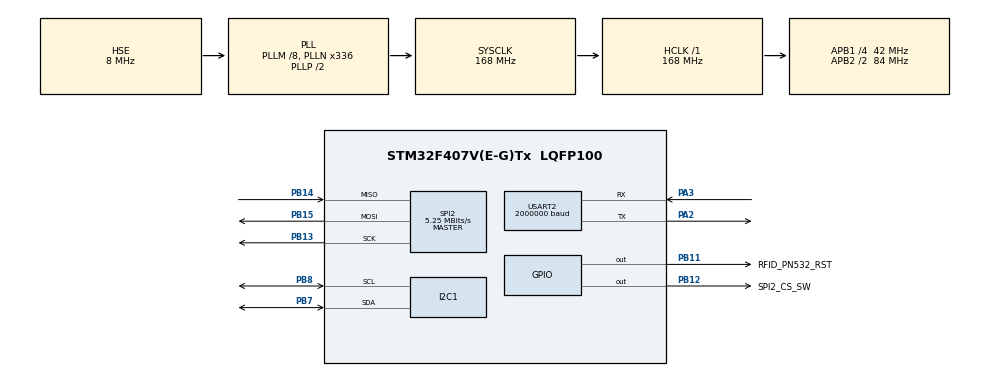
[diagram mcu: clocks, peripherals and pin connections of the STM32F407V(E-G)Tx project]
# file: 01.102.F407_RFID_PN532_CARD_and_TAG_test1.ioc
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Dma.Request0=USART2_TX
Dma.Request1=USART2_RX
Dma.USART2_RX.1.Direction=DMA_PERIPH_TO_MEMORY
Dma.USART2_RX.1.FIFOMode=DMA_FIFOMODE_DISABLE
Dma.USART2_RX.1.Instance=DMA1_Stream5
Dma.USART2_RX.1.MemDataAlignment=DMA_MDATAALIGN_BYTE
Dma.USART2_RX.1.MemInc=DMA_MINC_ENABLE
Dma.USART2_RX.1.Mode=DMA_CIRCULAR
Dma.USART2_RX.1.PeriphDataAlignment=DMA_PDATAALIGN_BYTE
Dma.USART2_RX.1.PeriphInc=DMA_PINC_DISABLE
Dma.USART2_RX.1.Priority=DMA_PRIORITY_LOW
Dma.USART2_TX.0.Direction=DMA_MEMORY_TO_PERIPH
Dma.USART2_TX.0.FIFOMode=DMA_FIFOMODE_DISABLE
Dma.USART2_TX.0.Instance=DMA1_Stream6
Dma.USART2_TX.0.MemDataAlignment=DMA_MDATAALIGN_BYTE
Dma.USART2_TX.0.MemInc=DMA_MINC_ENABLE
Dma.USART2_TX.0.Mode=DMA_NORMAL
Dma.USART2_TX.0.PeriphDataAlignment=DMA_PDATAALIGN_BYTE
Dma.USART2_TX.0.PeriphInc=DMA_PINC_DISABLE
Dma.USART2_TX.0.Priority=DMA_PRIORITY_LOW
Mcu.Family=STM32F4
Mcu.Name=STM32F407V(E-G)Tx
Mcu.Package=LQFP100
NVIC.DMA1_Stream5_IRQn=true\:0\:0\:false\:false\:true\:false\:true\:true
NVIC.DMA1_Stream6_IRQn=true\:0\:0\:false\:false\:true\:false\:true\:true
NVIC.PriorityGroup=NVIC_PRIORITYGROUP_0
NVIC.USART2_IRQn=true\:0\:0\:false\:false\:true\:true\:true\:true
PA2.Mode=Asynchronous
PA2.Signal=USART2_TX
PA3.Mode=Asynchronous
PA3.Signal=USART2_RX
PB11.GPIO_Label=RFID_PN532_RST
PB11.Signal=GPIO_Output
PB12.GPIO_Label=SPI2_CS_SW
PB12.Signal=GPIO_Output
PB13.Mode=Full_Duplex_Master
PB13.Signal=SPI2_SCK
PB14.Mode=Full_Duplex_Master
PB14.Signal=SPI2_MISO
PB15.Mode=Full_Duplex_Master
PB15.Signal=SPI2_MOSI
PB7.Mode=I2C
PB7.Signal=I2C1_SDA
PB8.Mode=I2C
PB8.Signal=I2C1_SCL
PH0-OSC_IN.Mode=HSE-External-Oscillator
PH0-OSC_IN.Signal=RCC_OSC_IN
PH1-OSC_OUT.Mode=HSE-External-Oscillator
PH1-OSC_OUT.Signal=RCC_OSC_OUT
ProjectManager.HeapSize=0x200
ProjectManager.StackSize=0x400
ProjectManager.TargetToolchain=STM32CubeIDE
RCC.48MHZClocksFreq_Value=48000000
RCC.AHBFreq_Value=168000000
RCC.APB1CLKDivider=RCC_HCLK_DIV4
RCC.APB1Freq_Value=42000000
RCC.APB1TimFreq_Value=84000000
RCC.APB2CLKDivider=RCC_HCLK_DIV2
RCC.APB2Freq_Value=84000000
RCC.APB2TimFreq_Value=168000000
RCC.CortexFreq_Value=168000000
RCC.HCLKFreq_Value=168000000
RCC.HSE_VALUE=8000000
RCC.HSI_VALUE=16000000
RCC.LSE_VALUE=32768
RCC.PLLM=8
RCC.PLLN=336
RCC.PLLQ=7
RCC.PLLSourceVirtual=RCC_PLLSOURCE_HSE
RCC.SYSCLKFreq_VALUE=168000000
RCC.SYSCLKSource=RCC_SYSCLKSOURCE_PLLCLK
RCC.VCOOutputFreq_Value=336000000
SPI2.BaudRatePrescaler=SPI_BAUDRATEPRESCALER_8
SPI2.CalculateBaudRate=5.25 MBits/s
SPI2.Direction=SPI_DIRECTION_2LINES
SPI2.Mode=SPI_MODE_MASTER
SPI2.VirtualType=VM_MASTER
USART2.BaudRate=2000000
USART2.VirtualMode=VM_ASYNC
board=STM32F407G-DISC1

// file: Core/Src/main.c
/* USER CODE BEGIN Header */
/**
  ******************************************************************************
  * @file           : main.c
  * @brief          : Main program body
  ******************************************************************************
  * @attention
  *
  * Copyright (c) 2025 STMicroelectronics.
  * All rights reserved.
  *
  * This software is licensed under terms that can be found in the LICENSE file
  * in the root directory of this software component.
  * If no LICENSE file comes with this software, it is provided AS-IS.
  *
  ******************************************************************************
  */
/* USER CODE END Header */
#include "main.h"

/* USER CODE BEGIN Includes */

#include <stdio.h>
#include <string.h>
#include <stddef.h>
#include <stdarg.h>
#include <stdbool.h>
#include <stdlib.h>
/* USER CODE END Includes */

I2C_HandleTypeDef hi2c1;

SPI_HandleTypeDef hspi2;

UART_HandleTypeDef huart4;
DMA_HandleTypeDef hdma_usart2_tx;
DMA_HandleTypeDef hdma_usart2_rx;

/* USER CODE BEGIN PV */
uint8_t dma_rx_buffer[64];
uint16_t old_pos = 0;

uint8_t status;
uint8_t str[16];
uint8_t sNum[5];

char *msg1 = "Reading from CARD\r\n";
char *msg2 = "Reading from TAG\r\n";
/* USER CODE END PV */

void SystemClock_Config(void);
static void MX_GPIO_Init(void);
static void MX_DMA_Init(void);
static void MX_USART2_UART_Init(void);
static void MX_SPI2_Init(void);
static void MX_I2C1_Init(void);

/* USER CODE BEGIN 0 */
void DebugPrint(const char *format, ...)
{
    static char uartBuffer[250];  // <--- persists after function returns
    va_list args;
    va_start(args, format);
    vsnprintf(uartBuffer, sizeof(uartBuffer), format, args);
    va_end(args);

    HAL_UART_Transmit_DMA(&huart4, (uint8_t*)uartBuffer, strlen(uartBuffer));
}

void check_dma_data(void) {
    uint16_t pos = sizeof(dma_rx_buffer) - __HAL_DMA_GET_COUNTER(&hdma_usart2_rx);

    if (pos != old_pos) {
        if (pos > old_pos) {
            // Print new data
            for (uint16_t i = old_pos; i < pos; i++) {
                DebugPrint("\r\nGot: '%c' (0x%02X) at pos %d\r\n\r\n",
                       dma_rx_buffer[i], dma_rx_buffer[i], i);

            }
        }
        old_pos = pos;
    }
}

/* USER CODE END 0 */

int main(void)
{

  /* MCU Configuration--------------------------------------------------------*/

  /* Reset of all peripherals, Initializes the Flash interface and the Systick. */
  HAL_Init();

  /* Configure the system clock */
  SystemClock_Config();

  /* Initialize all configured peripherals */
  MX_GPIO_Init();
  MX_DMA_Init();
  MX_USART2_UART_Init();
  MX_SPI2_Init();
  MX_I2C1_Init();
  /* USER CODE BEGIN 2 */

  HAL_UART_Receive_DMA(&huart4, dma_rx_buffer, sizeof(dma_rx_buffer));

  /* USER CODE END 2 */

  /* Infinite loop */
  while (1)
  {

    /* USER CODE BEGIN 3 */

//	  check_dma_data();
  }
  /* USER CODE END 3 */
}

void SystemClock_Config(void)
{
  RCC_OscInitTypeDef RCC_OscInitStruct = {0};
  RCC_ClkInitTypeDef RCC_ClkInitStruct = {0};

  /** Configure the main internal regulator output voltage
  */
  __HAL_RCC_PWR_CLK_ENABLE();
  __HAL_PWR_VOLTAGESCALING_CONFIG(PWR_REGULATOR_VOLTAGE_SCALE1);

  /** Initializes the RCC Oscillators according to the specified parameters
  * in the RCC_OscInitTypeDef structure.
  */
  RCC_OscInitStruct.OscillatorType = RCC_OSCILLATORTYPE_HSE;
  RCC_OscInitStruct.HSEState = RCC_HSE_ON;
  RCC_OscInitStruct.PLL.PLLState = RCC_PLL_ON;
  RCC_OscInitStruct.PLL.PLLSource = RCC_PLLSOURCE_HSE;
  RCC_OscInitStruct.PLL.PLLM = 8;
  RCC_OscInitStruct.PLL.PLLN = 336;
  RCC_OscInitStruct.PLL.PLLP = RCC_PLLP_DIV2;
  RCC_OscInitStruct.PLL.PLLQ = 7;
  if (HAL_RCC_OscConfig(&RCC_OscInitStruct) != HAL_OK)
  {
    Error_Handler();
  }

  /** Initializes the CPU, AHB and APB buses clocks
  */
  RCC_ClkInitStruct.ClockType = RCC_CLOCKTYPE_HCLK|RCC_CLOCKTYPE_SYSCLK
                              |RCC_CLOCKTYPE_PCLK1|RCC_CLOCKTYPE_PCLK2;
  RCC_ClkInitStruct.SYSCLKSource = RCC_SYSCLKSOURCE_PLLCLK;
  RCC_ClkInitStruct.AHBCLKDivider = RCC_SYSCLK_DIV1;
  RCC_ClkInitStruct.APB1CLKDivider = RCC_HCLK_DIV4;
  RCC_ClkInitStruct.APB2CLKDivider = RCC_HCLK_DIV2;

  if (HAL_RCC_ClockConfig(&RCC_ClkInitStruct, FLASH_LATENCY_5) != HAL_OK)
  {
    Error_Handler();
  }
}

static void MX_I2C1_Init(void)
{

  hi2c1.Instance = I2C1;
  hi2c1.Init.ClockSpeed = 100000;
  hi2c1.Init.DutyCycle = I2C_DUTYCYCLE_2;
  hi2c1.Init.OwnAddress1 = 0;
  hi2c1.Init.AddressingMode = I2C_ADDRESSINGMODE_7BIT;
  hi2c1.Init.DualAddressMode = I2C_DUALADDRESS_DISABLE;
  hi2c1.Init.OwnAddress2 = 0;
  hi2c1.Init.GeneralCallMode = I2C_GENERALCALL_DISABLE;
  hi2c1.Init.NoStretchMode = I2C_NOSTRETCH_DISABLE;
  if (HAL_I2C_Init(&hi2c1) != HAL_OK)
  {
    Error_Handler();
  }

}

static void MX_SPI2_Init(void)
{

  /* SPI2 parameter configuration*/
  hspi2.Instance = SPI2;
  hspi2.Init.Mode = SPI_MODE_MASTER;
  hspi2.Init.Direction = SPI_DIRECTION_2LINES;
  hspi2.Init.DataSize = SPI_DATASIZE_8BIT;
  hspi2.Init.CLKPolarity = SPI_POLARITY_LOW;
  hspi2.Init.CLKPhase = SPI_PHASE_1EDGE;
  hspi2.Init.NSS = SPI_NSS_SOFT;
  hspi2.Init.BaudRatePrescaler = SPI_BAUDRATEPRESCALER_8;
  hspi2.Init.FirstBit = SPI_FIRSTBIT_MSB;
  hspi2.Init.TIMode = SPI_TIMODE_DISABLE;
  hspi2.Init.CRCCalculation = SPI_CRCCALCULATION_DISABLE;
  hspi2.Init.CRCPolynomial = 10;
  if (HAL_SPI_Init(&hspi2) != HAL_OK)
  {
    Error_Handler();
  }

}

static void MX_USART2_UART_Init(void)
{

  huart4.Instance = USART2;
  huart4.Init.BaudRate = 2000000;
  huart4.Init.WordLength = UART_WORDLENGTH_8B;
  huart4.Init.StopBits = UART_STOPBITS_1;
  huart4.Init.Parity = UART_PARITY_NONE;
  huart4.Init.Mode = UART_MODE_TX_RX;
  huart4.Init.HwFlowCtl = UART_HWCONTROL_NONE;
  huart4.Init.OverSampling = UART_OVERSAMPLING_16;
  if (HAL_UART_Init(&huart4) != HAL_OK)
  {
    Error_Handler();
  }

}

static void MX_DMA_Init(void)
{

  /* DMA controller clock enable */
  __HAL_RCC_DMA1_CLK_ENABLE();

  /* DMA interrupt init */
  /* DMA1_Stream5_IRQn interrupt configuration */
  HAL_NVIC_SetPriority(DMA1_Stream5_IRQn, 0, 0);
  HAL_NVIC_EnableIRQ(DMA1_Stream5_IRQn);
  /* DMA1_Stream6_IRQn interrupt configuration */
  HAL_NVIC_SetPriority(DMA1_Stream6_IRQn, 0, 0);
  HAL_NVIC_EnableIRQ(DMA1_Stream6_IRQn);

}

static void MX_GPIO_Init(void)
{
  GPIO_InitTypeDef GPIO_InitStruct = {0};

  /* GPIO Ports Clock Enable */
  __HAL_RCC_GPIOH_CLK_ENABLE();
  __HAL_RCC_GPIOA_CLK_ENABLE();
  __HAL_RCC_GPIOB_CLK_ENABLE();

  /*Configure GPIO pin Output Level */
  HAL_GPIO_WritePin(GPIOB, RFID_PN532_RST_Pin|SPI2_CS_SW_Pin, GPIO_PIN_RESET);

  /*Configure GPIO pins : RFID_PN532_RST_Pin SPI2_CS_SW_Pin */
  GPIO_InitStruct.Pin = RFID_PN532_RST_Pin|SPI2_CS_SW_Pin;
  GPIO_InitStruct.Mode = GPIO_MODE_OUTPUT_PP;
  GPIO_InitStruct.Pull = GPIO_NOPULL;
  GPIO_InitStruct.Speed = GPIO_SPEED_FREQ_LOW;
  HAL_GPIO_Init(GPIOB, &GPIO_InitStruct);

}

void Error_Handler(void)
{
  __disable_irq();
  while (1)
  {
  }
}
